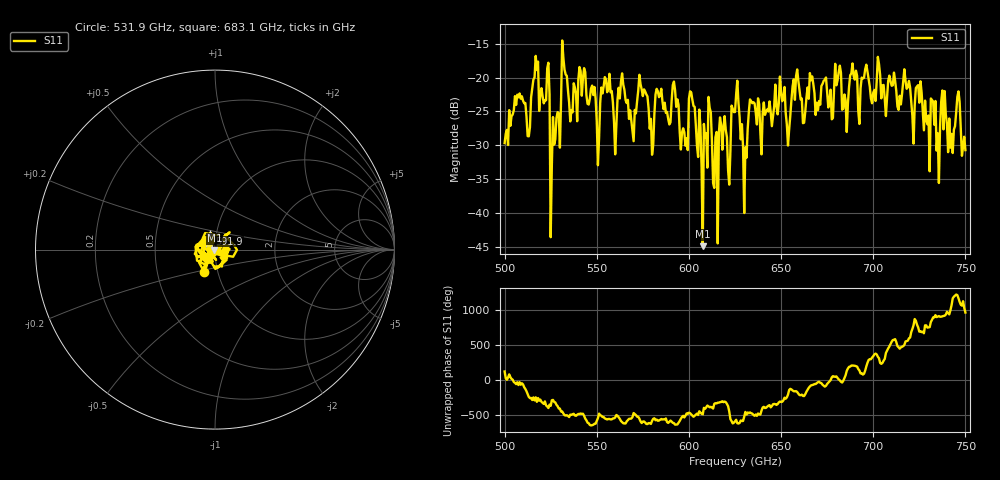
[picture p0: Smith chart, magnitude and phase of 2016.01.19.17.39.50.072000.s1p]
!Created with skrf (http://scikit-rf.org).
# GHz S RI R 50.0
!freq ReS11 ImS11
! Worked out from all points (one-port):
!   401 points, 500 GHz to 750 GHz, reference 50 ohm
!   lowest |S11| = -44.9 dB at 607.5 GHz (marker M1), VSWR 1.01, Z = 49.7 - j0.446 ohm
!   |S11| at or under -10 dB: start of sweep to end of sweep
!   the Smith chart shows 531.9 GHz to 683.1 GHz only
!   S11 on the Smith chart (normalised r, x): 531.9 GHz: 0.86, -0.22; 591.9 GHz: 0.93, +0.17; 683.1 GHz: 1.10, -0.07
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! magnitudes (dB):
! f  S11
! 500 GHz  -29.7
! 513.1 GHz  -28.7
! 516.9 GHz  -16.8
! 523.1 GHz  -18.6
! 526.2 GHz  -25.8
! 531.2 GHz  -14.5
! 531.9 GHz  -17.1
! 550.6 GHz  -32.9
! 562.5 GHz  -23.1
! 580 GHz  -31.4
! 591.9 GHz  -20.6
! 593.8 GHz  -23.2
! 598.1 GHz  -30.1
! 601.9 GHz  -23.3
! 607.5 GHz  -44.9
! 610.6 GHz  -22.9
! 614.4 GHz  -28.8
! 618.1 GHz  -30.7
! 621.2 GHz  -33.7
! 625 GHz  -25.1
! 630.6 GHz  -30.3
! 634.4 GHz  -23.8
! 656.2 GHz  -21.3
! 683.1 GHz  -24.8
! 687.5 GHz  -19.7
! 718.8 GHz  -21.4
! 746.2 GHz  -22.0
! 750 GHz  -30.7
